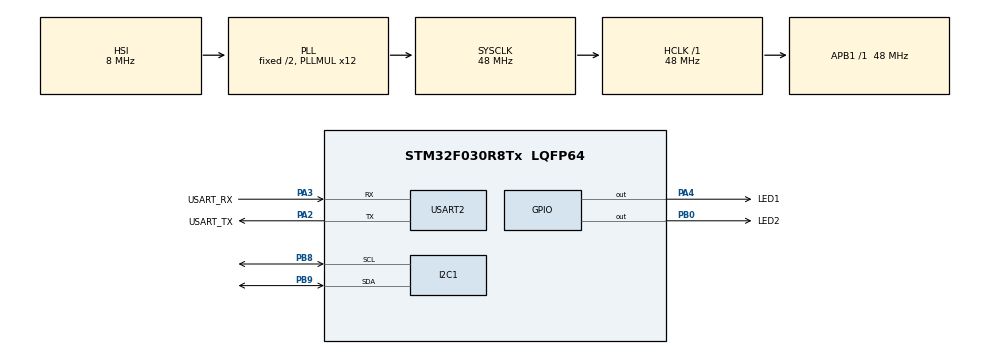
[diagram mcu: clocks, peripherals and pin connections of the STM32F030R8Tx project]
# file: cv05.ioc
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Dma.Request0=USART2_RX
Dma.USART2_RX.0.Direction=DMA_PERIPH_TO_MEMORY
Dma.USART2_RX.0.Instance=DMA1_Channel5
Dma.USART2_RX.0.MemDataAlignment=DMA_MDATAALIGN_BYTE
Dma.USART2_RX.0.MemInc=DMA_MINC_ENABLE
Dma.USART2_RX.0.Mode=DMA_CIRCULAR
Dma.USART2_RX.0.PeriphDataAlignment=DMA_PDATAALIGN_BYTE
Dma.USART2_RX.0.PeriphInc=DMA_PINC_DISABLE
Dma.USART2_RX.0.Priority=DMA_PRIORITY_LOW
I2C1.Timing=0x00201D2B
Mcu.Family=STM32F0
Mcu.Name=STM32F030R8Tx
Mcu.Package=LQFP64
NVIC.DMA1_Channel4_5_IRQn=true\:0\:0\:false\:false\:true\:false\:true\:true
PA13.GPIO_Label=TMS
PA13.Signal=SYS_SWDIO
PA14.GPIO_Label=TCK
PA14.Signal=SYS_SWCLK
PA2.GPIO_Label=USART_TX
PA2.GPIO_Mode=GPIO_MODE_AF_PP
PA2.GPIO_PuPd=GPIO_NOPULL
PA2.GPIO_Speed=GPIO_SPEED_FREQ_LOW
PA2.Mode=Asynchronous
PA2.Signal=USART2_TX
PA3.GPIO_Label=USART_RX
PA3.GPIO_Mode=GPIO_MODE_AF_PP
PA3.GPIO_PuPd=GPIO_NOPULL
PA3.GPIO_Speed=GPIO_SPEED_FREQ_LOW
PA3.Mode=Asynchronous
PA3.Signal=USART2_RX
PA4.GPIO_Label=LED1
PA4.Signal=GPIO_Output
PB0.GPIO_Label=LED2
PB0.Signal=GPIO_Output
PB8.Mode=I2C
PB8.Signal=I2C1_SCL
PB9.Mode=I2C
PB9.Signal=I2C1_SDA
PC14-OSC32_IN.Signal=RCC_OSC32_IN
PC15-OSC32_OUT.Signal=RCC_OSC32_OUT
PF0-OSC_IN.Signal=RCC_OSC_IN
PF1-OSC_OUT.Signal=RCC_OSC_OUT
ProjectManager.HeapSize=0x200
ProjectManager.StackSize=0x400
ProjectManager.TargetToolchain=STM32CubeIDE
RCC.AHBFreq_Value=48000000
RCC.APB1Freq_Value=48000000
RCC.APB1TimFreq_Value=48000000
RCC.HCLKFreq_Value=48000000
RCC.PLLMUL=RCC_PLL_MUL12
RCC.SYSCLKFreq_VALUE=48000000
RCC.SYSCLKSource=RCC_SYSCLKSOURCE_PLLCLK
USART2.VirtualMode-Asynchronous=VM_ASYNC
board=NUCLEO-F030R8

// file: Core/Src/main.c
/* USER CODE BEGIN Header */
/**
 ******************************************************************************
 * @file           : main.c
 * @brief          : Main program body
 ******************************************************************************
 * @attention
 *
 * Copyright (c) 2025 STMicroelectronics.
 * All rights reserved.
 *
 * This software is licensed under terms that can be found in the LICENSE file
 * in the root directory of this software component.
 * If no LICENSE file comes with this software, it is provided AS-IS.
 *
 ******************************************************************************
 */
/* USER CODE END Header */
#include "main.h"

/* USER CODE BEGIN Includes */
#include <stdio.h>
#include <stdlib.h>
#include <string.h>
/* USER CODE END Includes */

/* USER CODE BEGIN PD */
#define RX_BUFFER_LEN 64
static uint8_t uart_rx_buf[RX_BUFFER_LEN];
static volatile uint16_t uart_rx_read_ptr = 0;
#define uart_rx_write_ptr (RX_BUFFER_LEN - hdma_usart2_rx.Instance->CNDTR)
#define CMD_BUFFER_LEN 256
#define EEPROM_ADDR 0xA0
/* USER CODE END PD */

I2C_HandleTypeDef hi2c1;

UART_HandleTypeDef huart2;
DMA_HandleTypeDef hdma_usart2_rx;

void SystemClock_Config(void);
static void MX_GPIO_Init(void);
static void MX_DMA_Init(void);
static void MX_USART2_UART_Init(void);
static void MX_I2C1_Init(void);

/* USER CODE BEGIN 0 */
void parse_text(char *cmd)
{

	char *token;
	uint8_t addr;
	uint8_t value;
	uint8_t big_value[16];

	token = strtok(cmd, " ");
	if (strcasecmp(token, "HELLO") == 0) {
		printf("Communication OK\n");
	}
	else if (strcasecmp(token, "LED1") == 0) {
		token = strtok(NULL, " ");
		if (strcasecmp(token, "ON") == 0) {
			HAL_GPIO_WritePin(LED1_GPIO_Port,LED1_Pin,1);
		}
		else if (strcasecmp(token, "OFF") == 0) {
			HAL_GPIO_WritePin(LED1_GPIO_Port,LED1_Pin,0);
		}
		printf("OK\n");
	}
	else if (strcasecmp(token, "LED2") == 0) {
		token = strtok(NULL, " ");
		if (strcasecmp(token, "ON") == 0) {
			HAL_GPIO_WritePin(LED2_GPIO_Port,LED2_Pin,1);
		}
		else if (strcasecmp(token, "OFF") == 0) {
			HAL_GPIO_WritePin(LED2_GPIO_Port,LED2_Pin,0);
		}
		printf("OK\n");
	}
	else if (strcasecmp(token, "STATUS") == 0) {

		if(HAL_GPIO_ReadPin(LED1_GPIO_Port,LED1_Pin))
			printf("LED1 ON, ");
		else
			printf("LED1 OFF, ");
		if(HAL_GPIO_ReadPin(LED1_GPIO_Port,LED1_Pin))
			printf("LED2 ON.\n");
		else
			printf("LED2 OFF.\n");
	}
	else if (strcasecmp(token, "READ") == 0) {
		token = strtok(NULL, " ");
		addr = atoi(token);
		HAL_I2C_Mem_Read(&hi2c1, EEPROM_ADDR, addr, I2C_MEMADD_SIZE_16BIT, &value, 1, 1000);
		printf("%02x\n",value);
	}
	else if (strcasecmp(token, "WRITE") == 0) {
		token = strtok(NULL, " ");
		addr = atoi(token);

		value = atoi(strtok(NULL, " "));
		HAL_I2C_Mem_Write(&hi2c1, EEPROM_ADDR, addr, I2C_MEMADD_SIZE_16BIT, &value, 1, 1000);
		while (HAL_I2C_IsDeviceReady(&hi2c1, EEPROM_ADDR, 300, 1000) != HAL_OK) {}
		printf("OK\n");
	}
	else if (strcasecmp(token, "DUMP") == 0) {

		HAL_I2C_Mem_Read(&hi2c1, EEPROM_ADDR, 0, I2C_MEMADD_SIZE_16BIT, big_value, 16, 1000);
		for(uint8_t i = 0; i < 16; i++)
		{
			printf("%02x ",big_value[i]);
		}
		printf("\n");
	}
}

void uart_process_command(char *cmd)
{
	printf("received: '%s'\n", cmd);
	parse_text(cmd);
}

static void uart_byte_available(uint8_t c)
{
	static uint16_t cnt;
	static char data[CMD_BUFFER_LEN];
	if (cnt < CMD_BUFFER_LEN && c >= 32 && c <= 126) data[cnt++] = c;
	if ((c == '\n' || c == '\r') && cnt > 0) {
		data[cnt] = '\0';
		uart_process_command(data);
		cnt = 0;
	}
}
int _write(int file, char const *buf, int n)
{
	/* stdout redirection to UART2 */
	HAL_UART_Transmit(&huart2, (uint8_t*)(buf), n, HAL_MAX_DELAY);
	return n;
}
/* USER CODE END 0 */

int main(void)
{

	/* MCU Configuration--------------------------------------------------------*/

	/* Reset of all peripherals, Initializes the Flash interface and the Systick. */
	HAL_Init();

	/* Configure the system clock */
	SystemClock_Config();

	/* Initialize all configured peripherals */
	MX_GPIO_Init();
	MX_DMA_Init();
	MX_USART2_UART_Init();
	MX_I2C1_Init();
	/* USER CODE BEGIN 2 */
	HAL_UART_Receive_DMA(&huart2, uart_rx_buf, RX_BUFFER_LEN);
	/* USER CODE END 2 */

	/* Infinite loop */
	while (1)
	{

		/* USER CODE BEGIN 3 */
		//uint8_t c;
		//HAL_UART_Receive(&huart2, &c, 1, HAL_MAX_DELAY);
		//HAL_UART_Transmit(&huart2, &c, 1, HAL_MAX_DELAY);

		while (uart_rx_read_ptr != uart_rx_write_ptr) {
			uint8_t b = uart_rx_buf[uart_rx_read_ptr];
			// increase read pointer
			if (++uart_rx_read_ptr >= RX_BUFFER_LEN) uart_rx_read_ptr = 0;
			// process every received byte with the RX state machine
			uart_byte_available(b);
		}
	}
	/* USER CODE END 3 */
}

void SystemClock_Config(void)
{
	RCC_OscInitTypeDef RCC_OscInitStruct = {0};
	RCC_ClkInitTypeDef RCC_ClkInitStruct = {0};
	RCC_PeriphCLKInitTypeDef PeriphClkInit = {0};

	/** Initializes the RCC Oscillators according to the specified parameters
	 * in the RCC_OscInitTypeDef structure.
	 */
	RCC_OscInitStruct.OscillatorType = RCC_OSCILLATORTYPE_HSI;
	RCC_OscInitStruct.HSIState = RCC_HSI_ON;
	RCC_OscInitStruct.HSICalibrationValue = RCC_HSICALIBRATION_DEFAULT;
	RCC_OscInitStruct.PLL.PLLState = RCC_PLL_ON;
	RCC_OscInitStruct.PLL.PLLSource = RCC_PLLSOURCE_HSI;
	RCC_OscInitStruct.PLL.PLLMUL = RCC_PLL_MUL12;
	RCC_OscInitStruct.PLL.PREDIV = RCC_PREDIV_DIV1;
	if (HAL_RCC_OscConfig(&RCC_OscInitStruct) != HAL_OK)
	{
		Error_Handler();
	}

	/** Initializes the CPU, AHB and APB buses clocks
	 */
	RCC_ClkInitStruct.ClockType = RCC_CLOCKTYPE_HCLK|RCC_CLOCKTYPE_SYSCLK
			|RCC_CLOCKTYPE_PCLK1;
	RCC_ClkInitStruct.SYSCLKSource = RCC_SYSCLKSOURCE_PLLCLK;
	RCC_ClkInitStruct.AHBCLKDivider = RCC_SYSCLK_DIV1;
	RCC_ClkInitStruct.APB1CLKDivider = RCC_HCLK_DIV1;

	if (HAL_RCC_ClockConfig(&RCC_ClkInitStruct, FLASH_LATENCY_1) != HAL_OK)
	{
		Error_Handler();
	}
	PeriphClkInit.PeriphClockSelection = RCC_PERIPHCLK_I2C1;
	PeriphClkInit.I2c1ClockSelection = RCC_I2C1CLKSOURCE_HSI;
	if (HAL_RCCEx_PeriphCLKConfig(&PeriphClkInit) != HAL_OK)
	{
		Error_Handler();
	}
}

static void MX_I2C1_Init(void)
{

	hi2c1.Instance = I2C1;
	hi2c1.Init.Timing = 0x00201D2B;
	hi2c1.Init.OwnAddress1 = 0;
	hi2c1.Init.AddressingMode = I2C_ADDRESSINGMODE_7BIT;
	hi2c1.Init.DualAddressMode = I2C_DUALADDRESS_DISABLE;
	hi2c1.Init.OwnAddress2 = 0;
	hi2c1.Init.OwnAddress2Masks = I2C_OA2_NOMASK;
	hi2c1.Init.GeneralCallMode = I2C_GENERALCALL_DISABLE;
	hi2c1.Init.NoStretchMode = I2C_NOSTRETCH_DISABLE;
	if (HAL_I2C_Init(&hi2c1) != HAL_OK)
	{
		Error_Handler();
	}

	/** Configure Analogue filter
	 */
	if (HAL_I2CEx_ConfigAnalogFilter(&hi2c1, I2C_ANALOGFILTER_ENABLE) != HAL_OK)
	{
		Error_Handler();
	}

	/** Configure Digital filter
	 */
	if (HAL_I2CEx_ConfigDigitalFilter(&hi2c1, 0) != HAL_OK)
	{
		Error_Handler();
	}

}

static void MX_USART2_UART_Init(void)
{

	huart2.Instance = USART2;
	huart2.Init.BaudRate = 38400;
	huart2.Init.WordLength = UART_WORDLENGTH_8B;
	huart2.Init.StopBits = UART_STOPBITS_1;
	huart2.Init.Parity = UART_PARITY_NONE;
	huart2.Init.Mode = UART_MODE_TX_RX;
	huart2.Init.HwFlowCtl = UART_HWCONTROL_NONE;
	huart2.Init.OverSampling = UART_OVERSAMPLING_16;
	huart2.Init.OneBitSampling = UART_ONE_BIT_SAMPLE_DISABLE;
	huart2.AdvancedInit.AdvFeatureInit = UART_ADVFEATURE_NO_INIT;
	if (HAL_UART_Init(&huart2) != HAL_OK)
	{
		Error_Handler();
	}

}

static void MX_DMA_Init(void)
{

	/* DMA controller clock enable */
	__HAL_RCC_DMA1_CLK_ENABLE();

	/* DMA interrupt init */
	/* DMA1_Channel4_5_IRQn interrupt configuration */
	HAL_NVIC_SetPriority(DMA1_Channel4_5_IRQn, 0, 0);
	HAL_NVIC_EnableIRQ(DMA1_Channel4_5_IRQn);

}

static void MX_GPIO_Init(void)
{
	GPIO_InitTypeDef GPIO_InitStruct = {0};

	/* GPIO Ports Clock Enable */
	__HAL_RCC_GPIOC_CLK_ENABLE();
	__HAL_RCC_GPIOF_CLK_ENABLE();
	__HAL_RCC_GPIOA_CLK_ENABLE();
	__HAL_RCC_GPIOB_CLK_ENABLE();

	/*Configure GPIO pin Output Level */
	HAL_GPIO_WritePin(LED1_GPIO_Port, LED1_Pin, GPIO_PIN_RESET);

	/*Configure GPIO pin Output Level */
	HAL_GPIO_WritePin(LED2_GPIO_Port, LED2_Pin, GPIO_PIN_RESET);

	/*Configure GPIO pin : LED1_Pin */
	GPIO_InitStruct.Pin = LED1_Pin;
	GPIO_InitStruct.Mode = GPIO_MODE_OUTPUT_PP;
	GPIO_InitStruct.Pull = GPIO_NOPULL;
	GPIO_InitStruct.Speed = GPIO_SPEED_FREQ_LOW;
	HAL_GPIO_Init(LED1_GPIO_Port, &GPIO_InitStruct);

	/*Configure GPIO pin : LED2_Pin */
	GPIO_InitStruct.Pin = LED2_Pin;
	GPIO_InitStruct.Mode = GPIO_MODE_OUTPUT_PP;
	GPIO_InitStruct.Pull = GPIO_NOPULL;
	GPIO_InitStruct.Speed = GPIO_SPEED_FREQ_LOW;
	HAL_GPIO_Init(LED2_GPIO_Port, &GPIO_InitStruct);

}

void Error_Handler(void)
{
	__disable_irq();
	while (1)
	{
	}
}
